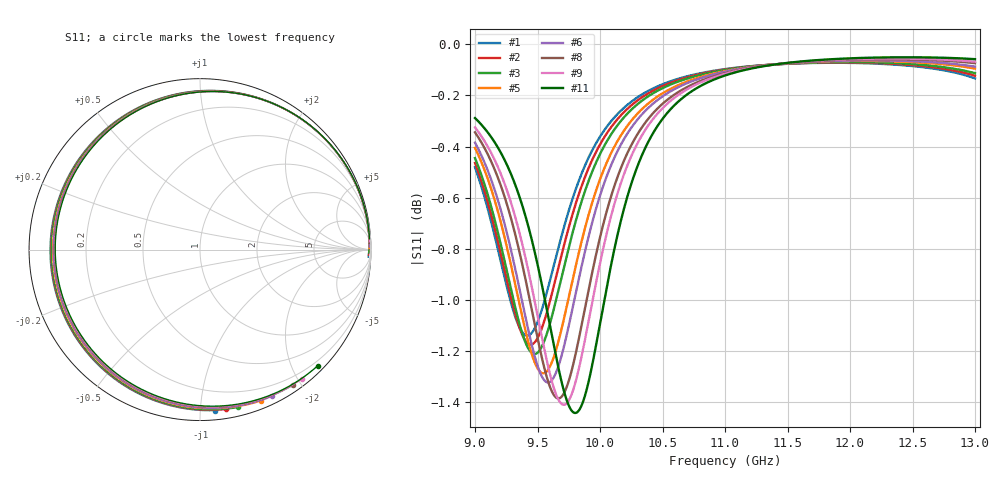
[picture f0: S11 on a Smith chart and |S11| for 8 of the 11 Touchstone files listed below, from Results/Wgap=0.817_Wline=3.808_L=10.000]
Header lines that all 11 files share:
! TOUCHSTONE file generated by CST DESIGN STUDIO
! Project name: C:\Work\MatlabApps\UnitCellOptimizationMatlab\CST\unitcell.cst
! Tree item: Tasks\Sweep1\SPara1\S-Parameters
! Header version: 2024
! Port assignment regex: !\s*Touchstone port\s*([0-9]+)\s*=\s*(CST MWS port|CST DES external port|CST DES block port)\s*(.+)\s* \(\"(.*)\"\)(\s*mode\s*([0-9]+))?.*
! Touchstone port assignment:
! Touchstone port 1 = CST DES external port 1 ("")
# GHz S MA R 50
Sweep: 9 GHz to 13 GHz
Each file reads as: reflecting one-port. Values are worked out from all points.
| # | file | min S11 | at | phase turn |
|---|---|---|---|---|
| 1 | DS_for_MWS-run-0001.s1p | -1.1 dB | 9.418 GHz | -278 deg |
| 2 | DS_for_MWS-run-0002.s1p | -1.2 dB | 9.446 GHz | -281 deg |
| 3 | DS_for_MWS-run-0003.s1p | -1.2 dB | 9.476 GHz | -285 deg |
| 4 | DS_for_MWS-run-0004.s1p | -1.2 dB | 9.51 GHz | -288 deg |
| 5 | DS_for_MWS-run-0005.s1p | -1.3 dB | 9.546 GHz | -292 deg |
| 6 | DS_for_MWS-run-0006.s1p | -1.3 dB | 9.584 GHz | -295 deg |
| 7 | DS_for_MWS-run-0007.s1p | -1.4 dB | 9.625 GHz | -299 deg |
| 8 | DS_for_MWS-run-0008.s1p | -1.4 dB | 9.667 GHz | -302 deg |
| 9 | DS_for_MWS-run-0009.s1p | -1.4 dB | 9.711 GHz | -306 deg |
| 10 | DS_for_MWS-run-0010.s1p | -1.4 dB | 9.756 GHz | -309 deg |
| 11 | DS_for_MWS-run-0011.s1p | -1.4 dB | 9.801 GHz | -312 deg |
